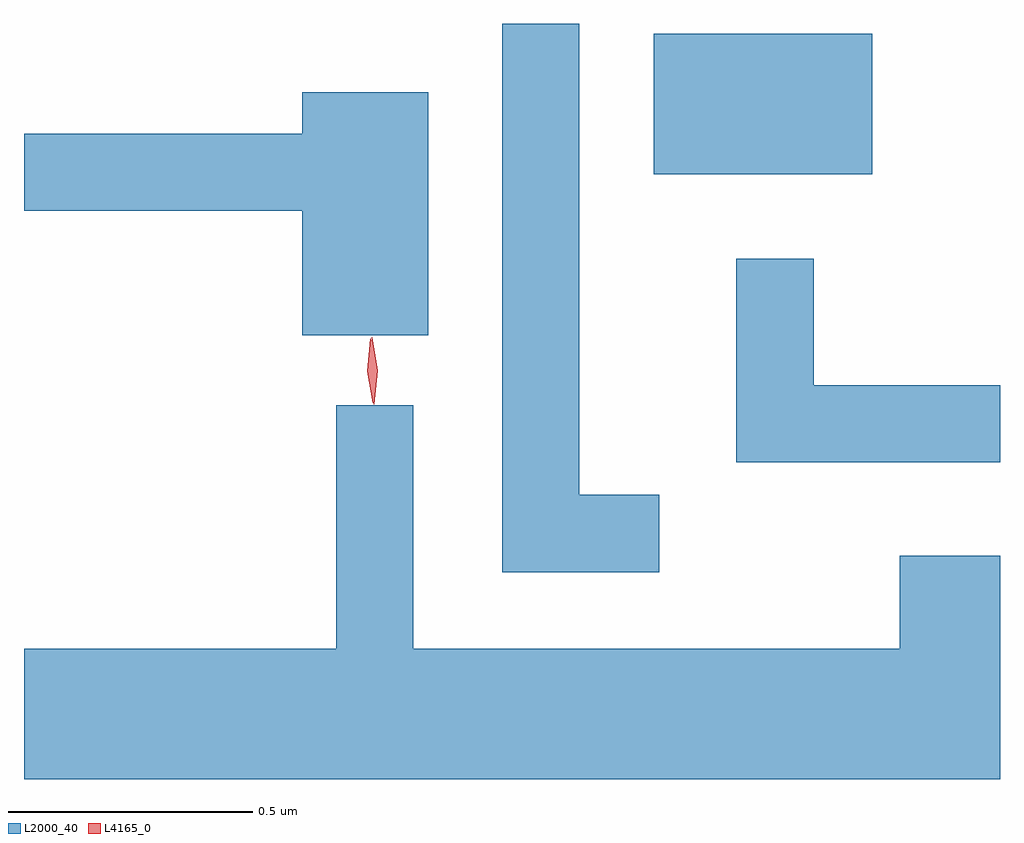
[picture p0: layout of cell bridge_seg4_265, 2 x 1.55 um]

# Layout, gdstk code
import gdstk
lib = gdstk.Library(unit=1e-6, precision=1e-09)
def R(c, l, rs):  # rectangles x0, y0, x1, y1
    for r in rs: c.add(gdstk.rectangle(r[:2], r[2:], *l))
def P(c, l, *ps):  # polygons
    for p in ps: c.add(gdstk.Polygon(p, *l))
L2000_40 = (2000, 40)
L4165_0 = (4165, 0)

bridge_seg4_265 = lib.new_cell('bridge_seg4_265')
R(bridge_seg4_265, L2000_40, [(678.136,1333.716,678.584,1334.004)])
P(bridge_seg4_265, L2000_40, [(678.148,1333.059),(677.984,1333.059),(677.984,1334.025),(677.826,1334.025),(677.826,1332.901),(678.148,1332.901)],
  [(677.674,1333.884),(677.416,1333.884),(677.416,1333.799),(676.846,1333.799),(676.846,1333.641),(677.416,1333.641),(677.416,1333.386),(677.674,1333.386)],
  [(678.846,1333.284),(678.464,1333.284),(678.464,1333.543),(678.306,1333.543),(678.306,1333.126),(678.846,1333.126)],
  [(678.846,1332.934),(678.641,1332.934),(678.641,1332.744),(677.644,1332.744),(677.644,1333.243),(677.486,1333.243),(677.486,1332.744),(676.846,1332.744),(676.846,1332.476),(678.846,1332.476)])
P(bridge_seg4_265, L4165_0, [(677.561,1333.248),(677.561,1333.248),(677.549,1333.313),(677.556,1333.379),(677.557,1333.379),(677.557,1333.379),(677.569,1333.314),(677.562,1333.248)],
  [(677.563,1333.245),(677.552,1333.313),(677.559,1333.382),(677.56,1333.382),(677.56,1333.382),(677.571,1333.314),(677.564,1333.245),(677.564,1333.245)])

lib.write_gds('bridge_seg4_265.gds')
